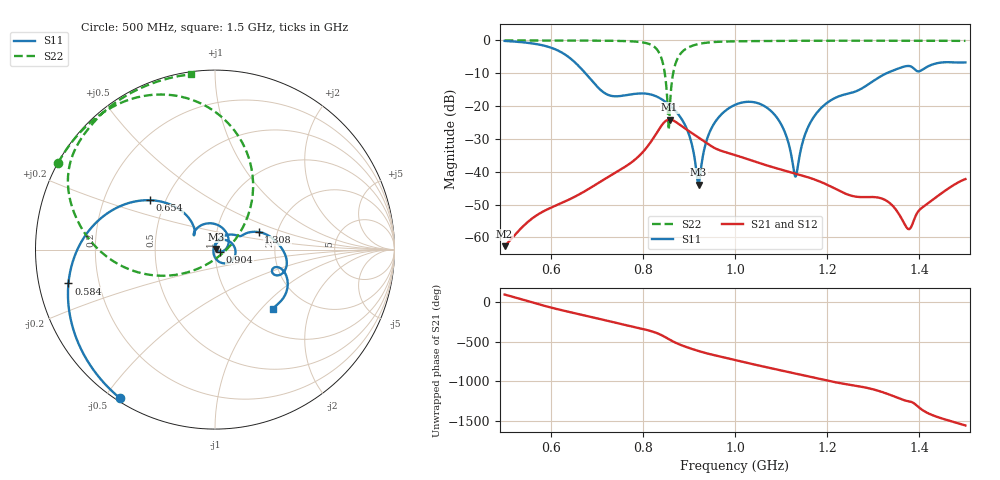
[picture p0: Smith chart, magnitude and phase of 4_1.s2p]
! TOUCHSTONE file generated by CST MICROWAVE STUDIO
! Date and time: Mon Oct 26 12:04:21 2020
! Project name: Scenario_1_Circular_Tissue_out_of_Line_v2.cst
! Parameters = {dy1=-294.1; L_HA=400; MT=2.54; Rad_Dielectric=30; Rad_Lower=7.3; Rad_Upper=30; a_HA=580; a_WG=246; b_HA=500; b_WG=121; c_HA=0; c_WG=187; d_feed=85; dx1=173; h_feed=15; h_lower=18; h_upper=40}
! Header version: 2018
! Port assignment regex: !\s*Touchstone port\s*([0-9]+)\s*=\s*(CST MWS port|CST DS port)\s*([0-9]+|Zmin|Zmax)\s*\(\"(.*)\"\)(\s*mode\s*([0-9]+))?.*
! Touchstone port assignment:
! Touchstone port 1 = CST MWS port 1 ("")
! Touchstone port 2 = CST MWS port 2 ("")
# GHz S DB R 50
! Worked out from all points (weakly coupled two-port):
!   1003 points, 500 MHz to 1.5 GHz, reference 50 ohm
!   highest |S21| = -24.09 dB at 858 MHz (marker M1); lowest = -62.7 dB at 500 MHz (marker M2)
!   lowest |S11| = -43.9 dB at 921 MHz (marker M3), VSWR 1.01, Z = 50.5 + j0.338 ohm
!   |S11| at or under -10 dB: 675.4 MHz to 1.329 GHz (653.4 MHz wide, 65.2 % of centre)
!   |S22| runs from -27.2 to 0.0 dB; largest |S21 - S12| = 6.6e-06
!   S11 on the Smith chart (normalised r, x): 500 MHz: 0.01, -0.55; 584 MHz: 0.09, -0.11; 654 MHz: 0.41, +0.29; 904 MHz: 1.06, -0.02; 1.308 GHz: 1.60, +0.34; 1.5 GHz: 1.38, -1.16
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0.5  -0.15 -122.6  -62.66 99.5  -62.66 99.5  -0.01 151.1
0.584  -1.53 -167.0  -52.07 -39.7  -52.06 -39.7  -0.02 145.3
0.654  -6.85 142.7  -47.48 -139.4  -47.48 -139.4  -0.04 139.6
0.667  -8.70 135.7  -46.48 -156.5  -46.48 -156.5  -0.04 138.4
0.722  -16.41 138.3  -41.81 128.4  -41.81 128.4  -0.09 132.0
0.78  -16.31 137.0  -36.63 49.5  -36.63 49.5  -0.32 120.3
0.834  -17.36 80.8  -27.28 -37.8  -27.28 -37.8  -3.42 81.0
0.847  -18.49 62.2  -24.85 -75.1  -24.85 -75.1  -9.43 52.7
0.858  -19.70 46.0  -24.09 -111.7  -24.09 -111.7  -22.26 -111.1
0.873  -21.82 23.0  -24.96 -156.5  -24.96 -156.5  -6.24 -166.8
0.904  -30.40 -21.8  -27.98 134.9  -27.98 134.9  -1.80 165.2
0.921  -43.95 31.8  -29.59 103.4  -29.59 103.4  -1.09 157.8
0.949  -26.73 69.7  -32.23 59.2  -32.23 59.2  -0.54 149.3
1  -19.62 14.9  -34.90 -10.2  -34.90 -10.2  -0.27 140.1
1.084  -22.32 -68.2  -38.69 -122.2  -38.69 -122.2  -0.15 131.2
1.11  -28.58 -95.3  -39.71 -155.6  -39.71 -155.6  -0.12 128.9
1.131  -41.47 176.6  -40.53 177.4  -40.53 177.4  -0.11 127.1
1.167  -24.18 69.0  -42.08 130.6  -42.08 130.6  -0.10 124.2
1.308  -11.64 21.9  -47.79 -35.8  -47.79 -35.8  -0.09 113.5
1.334  -9.68 10.6  -49.32 -86.3  -49.32 -86.3  -0.09 111.5
1.378  -7.79 -15.4  -57.46 -174.9  -57.47 -174.9  -0.09 108.1
1.5  -6.70 -45.9  -42.23 -120.2  -42.23 -120.2  -0.13 97.9
